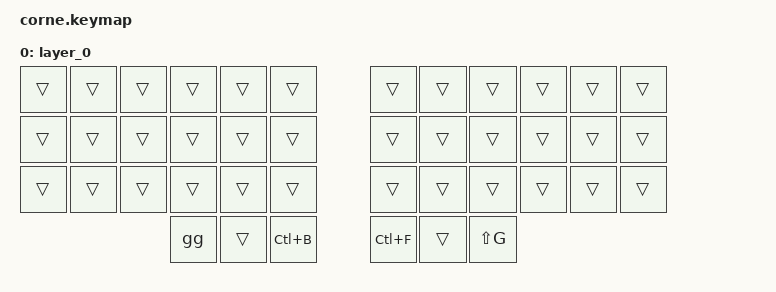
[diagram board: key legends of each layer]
/*
 * Copyright (c) 2020 The ZMK Contributors
 *
 * SPDX-License-Identifier: MIT
 */

#define ZMK_POINTING_DEFAULT_MOVE_VAL 900  // default: 600

#include <behaviors.dtsi>
#include <dt-bindings/zmk/keys.h>

/ {
    combos { compatible = "zmk,combos"; };

    behaviors {
        left_bracket_tapdance: left_bracket_tapdance {
            compatible = "zmk,behavior-tap-dance";
            label = "LEFT_BRACKET_TAPDANCE";
            #binding-cells = <0>;
            tapping-term-ms = <200>;
            bindings = <&kp LEFT_BRACKET>, <&kp LEFT_PARENTHESIS>;
        };

        hrm: hrm {
            compatible = "zmk,behavior-hold-tap";
            #binding-cells = <2>;
            flavor = "balanced";
            tapping-term-ms = <200>;
            quick-tap-ms = <200>;
            bindings = <&kp>, <&kp>;
        };

        hmm: hmm {
            compatible = "zmk,behavior-hold-tap";
            bindings = <&mo>, <&kp>;

            #binding-cells = <2>;
            tapping-term-ms = <200>;
            quick-tap-ms = <200>;
            flavor = "balanced";
        };

        right_bracket_tapdance: right_bracket_tapdance {
            compatible = "zmk,behavior-tap-dance";
            label = "RIGHT_BRACKET_TAPDANCE";
            #binding-cells = <0>;
            tapping-term-ms = <200>;
            bindings = <&kp RIGHT_BRACKET>, <&kp RIGHT_PARENTHESIS>;
        };
    };

    macros {
        gg: gg {
            compatible = "zmk,behavior-macro";
            #binding-cells = <0>;
            bindings = <&kp G &kp G>;
            label = "GG";
        };
    };

    keymap {
        compatible = "zmk,keymap";

        layer_0 {
            bindings = <
&trans  &trans  &trans  &trans  &trans  &trans       &trans     &trans  &trans     &trans  &trans  &trans
&trans  &trans  &trans  &trans  &trans  &trans       &trans     &trans  &trans     &trans  &trans  &trans
&trans  &trans  &trans  &trans  &trans  &trans       &trans     &trans  &trans     &trans  &trans  &trans
                        &gg     &trans  &kp LC(B)    &kp LC(F)  &trans  &kp LS(G)
            >;
        };
    };
};
